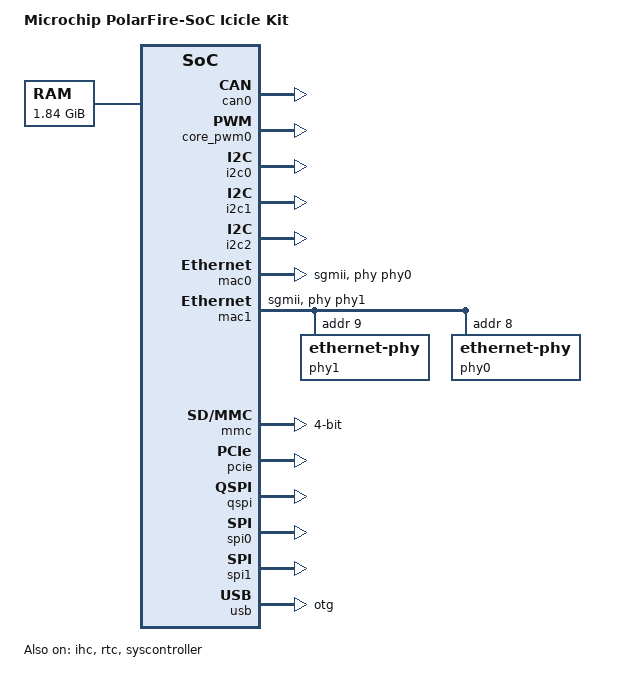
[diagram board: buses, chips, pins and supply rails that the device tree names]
// SPDX-License-Identifier: (GPL-2.0 OR MIT)
/* Copyright (c) 2020-2021 Microchip Technology Inc */

/dts-v1/;

#include "mpfs.dtsi"
#include "mpfs-icicle-kit-fabric.dtsi"

/* Clock frequency (in Hz) of the rtcclk */
#define RTCCLK_FREQ		1000000

/ {
	#address-cells = <2>;
	#size-cells = <2>;
	model = "Microchip PolarFire-SoC Icicle Kit";
	compatible = "microchip,mpfs-icicle-reference-rtlv2209", "microchip,mpfs-icicle-kit",
		     "microchip,mpfs";

	aliases {
		ethernet0 = &mac1;
		serial0 = &mmuart0;
		serial1 = &mmuart1;
		serial2 = &mmuart2;
		serial3 = &mmuart3;
		serial4 = &mmuart4;
	};

	chosen {
		stdout-path = "serial1:115200n8";
	};

	cpus {
		timebase-frequency = <RTCCLK_FREQ>;
	};

	ddrc_cache: memory@1000000000 {
		device_type = "memory";
		reg = <0x10 0x0 0x0 0x75BB0000>;
		status = "okay";
	};

	reserved-memory {
		#address-cells = <2>;
		#size-cells = <2>;
		ranges;

		/*
		 * 0x8100_0000 ~ 0x8140_0000 is reserved for context B (BM/RTOS)
		 */

		fabricbuf0ddrc: buffer@80000000 {
			compatible = "shared-dma-pool";
			reg = <0x0 0x80000000 0x0 0x1000000>;
			no-map;
		};

		fabricbuf1ddrnc: buffer@c0000000 {
			compatible = "shared-dma-pool";
			reg = <0x0 0xc0000000 0x0 0x8000000>;
			no-map;
		};

		fabricbuf2ddrncwcb: buffer@d0000000 {
			compatible = "shared-dma-pool";
			reg = <0x0 0xd0000000 0x0 0x8000000>;
			no-map;
		};

		contextb_reserved: contextb_reserved@81000000 {
			reg = <0x0 0x81000000 0x0 0x400000>;
			no-map;
		};

		vdev0vring0: vdev0vring0@81400000 {
			reg = <0x0 0x81400000 0x0 0x8000>;
			no-map;
		};

		vdev0vring1: vdev0vring1@81408000 {
			reg = <0x0 0x81408000 0x0 0x8000>;
			no-map;
		};

		vdev0buffer: vdev0buff@81410000 {
			compatible = "shared-dma-pool";
			reg = <0x0 0x81410000 0x0 0x40000>;
			no-map;
		};

		rsctable: rsc-table@814FF000 {
			reg = <0x0 0x814FF000 0x0 0x1000>;
			no-map;
		};
	};

	rproc_contextb: remote-context {
		compatible = "microchip,miv-remoteproc";
		memory-region = <&vdev0buffer>, <&rsctable>,
				<&contextb_reserved>, <&vdev0vring0>,
				<&vdev0vring1>;
		mboxes= <&ihc 0>;
		status = "okay";
	};

	udmabuf0 {
		compatible = "ikwzm,u-dma-buf";
		device-name = "udmabuf-ddr-c0";
		minor-number = <0>;
		size = <0x0 0x1000000>;
		memory-region = <&fabricbuf0ddrc>;
		sync-mode = <3>;
	};

	udmabuf1 {
		compatible = "ikwzm,u-dma-buf";
		device-name = "udmabuf-ddr-nc0";
		minor-number = <1>;
		size = <0x0 0x8000000>;
		memory-region = <&fabricbuf1ddrnc>;
		sync-mode = <3>;
	};

	udmabuf2 {
		compatible = "ikwzm,u-dma-buf";
		device-name = "udmabuf-ddr-nc-wcb0";
		minor-number = <2>;
		size = <0x0 0x8000000>;
		memory-region = <&fabricbuf2ddrncwcb>;
		sync-mode = <3>;
	};

};

&can0 {
	status = "okay";
};

&core_pwm0 {
	status = "okay";
};

&cpu4 {
	status = "disabled"; // in use by context b
};

&i2c0 {
	status = "okay";
};

&i2c1 {
	status = "okay";
};

&i2c2 {
	status = "okay";
};

&ihc {
	status = "okay";
};

&fpgadma {
	status = "okay";
};

&fpgalsram {
	status = "okay";
};

&gpio2 {
	interrupts = <53>, <53>,
		     <53>, <53>,
		     <53>, <53>,
		     <53>, <53>,
		     <53>, <53>,
		     <53>, <53>,
		     <53>, <53>,
		     <53>, <53>,
		     <53>, <53>,
		     <53>, <53>,
		     <53>, <53>,
		     <53>, <53>,
		     <53>, <53>,
		     <53>, <53>,
		     <53>, <53>,
		     <53>, <53>;
	status = "okay";
};

&mac0 {
	status = "okay";
	phy-mode = "sgmii";
	phy-handle = <&phy0>;
};

&mac1 {
	status = "okay";
	phy-mode = "sgmii";
	phy-handle = <&phy1>;
	phy1: ethernet-phy@9 {
		reg = <9>;
	};
	phy0: ethernet-phy@8 {
		reg = <8>;
	};
};

&mbox {
	status = "okay";
};

&mmc {
	status = "okay";
	bus-width = <4>;
	disable-wp;
	cap-sd-highspeed;
	cap-mmc-highspeed;
	mmc-ddr-1_8v;
	mmc-hs200-1_8v;
	sd-uhs-sdr12;
	sd-uhs-sdr25;
	sd-uhs-sdr50;
	sd-uhs-sdr104;
};

&mmuart1 {
	status = "okay";
};

&mmuart2 {
	status = "okay";
};

&mmuart3 {
	status = "disabled"; // in use by context b
};

&mmuart4 {
	status = "okay";
};

&pcie {
	status = "okay";
};

&qspi {
        status = "okay";
};

&refclk {
	clock-frequency = <125000000>;
};

&rtc {
	status = "okay";
};

&spi0 {
	status = "okay";
};

&spi1 {
	status = "okay";
};

&syscontroller {
	status = "okay";
};

&usb {
	status = "okay";
	dr_mode = "otg";
};
